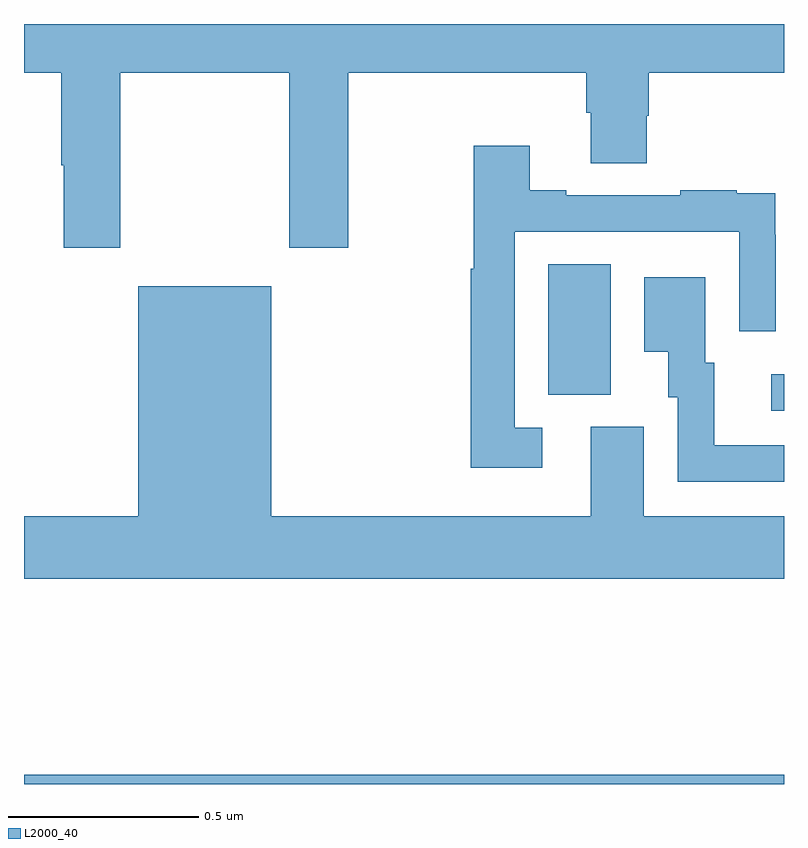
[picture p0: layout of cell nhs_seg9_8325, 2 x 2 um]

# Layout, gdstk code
import gdstk
lib = gdstk.Library(unit=1e-6, precision=1e-09)
def R(c, l, rs):  # rectangles x0, y0, x1, y1
    for r in rs: c.add(gdstk.rectangle(r[:2], r[2:], *l))
def P(c, l, *ps):  # polygons
    for p in ps: c.add(gdstk.Polygon(p, *l))
L2000_40 = (2000, 40)

nhs_seg9_8325 = lib.new_cell('nhs_seg9_8325')
R(nhs_seg9_8325, L2000_40, [(215,1242.5,217,1242.524), (216.966,1243.482,217,1243.578), (216.38,1243.525,216.544,1243.868)])
P(nhs_seg9_8325, L2000_40, [(215.253,1244.372),(215.698,1244.372),(215.698,1243.911),(215.853,1243.911),(215.853,1244.372),(216.479,1244.372),(216.479,1244.266),(216.491,1244.266),(216.491,1244.134),(216.639,1244.134),(216.639,1244.259),(216.644,1244.259),(216.644,1244.372),(217,1244.372),(217,1244.5),(215,1244.5),(215,1244.372),(215.098,1244.372),(215.098,1244.128),(215.105,1244.128),(215.105,1243.911),(215.253,1243.911)],
  [(216.364,1243.437),(216.291,1243.437),(216.291,1243.953),(216.882,1243.953),(216.882,1243.692),(216.978,1243.692),(216.978,1243.946),(216.977,1243.946),(216.977,1244.055),(216.875,1244.055),(216.875,1244.062),(216.727,1244.062),(216.727,1244.049),(216.427,1244.049),(216.427,1244.062),(216.331,1244.062),(216.331,1244.179),(216.183,1244.179),(216.183,1243.856),(216.175,1243.856),(216.175,1243.332),(216.364,1243.332)],
  [(217,1243.392),(216.817,1243.392),(216.817,1243.608),(216.793,1243.608),(216.793,1243.834),(216.632,1243.834),(216.632,1243.637),(216.695,1243.637),(216.695,1243.518),(216.72,1243.518),(216.72,1243.296),(217,1243.296)],
  [(217,1243.204),(216.631,1243.204),(216.631,1243.44),(216.491,1243.44),(216.491,1243.204),(215.65,1243.204),(215.65,1243.81),(215.3,1243.81),(215.3,1243.204),(215,1243.204),(215,1243.04),(217,1243.04)])

lib.write_gds('nhs_seg9_8325.gds')
